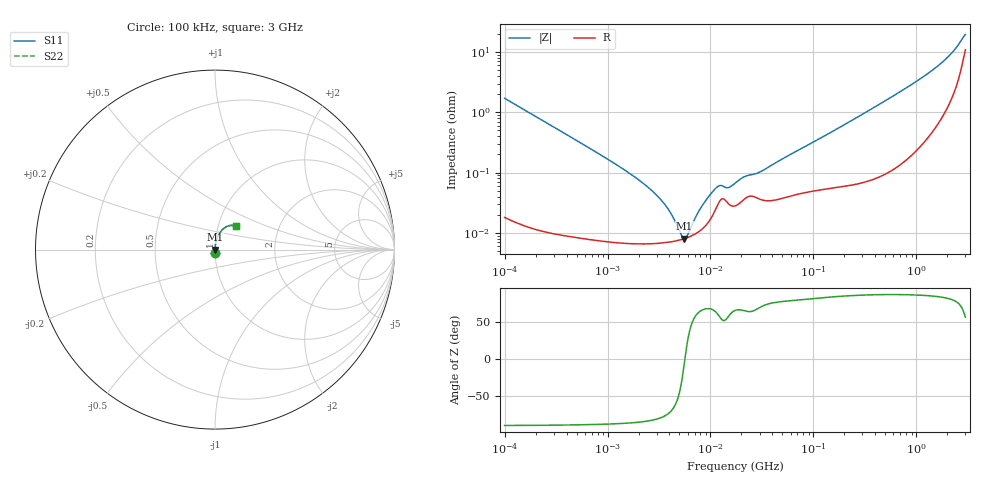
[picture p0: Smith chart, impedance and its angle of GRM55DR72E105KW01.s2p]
!Murata Part Number: GRM55DR72E105KW01
!These Parameters are Measured in Series Mode Connection
!Data Generated on Mar 30, 2021
!  o--ll--o
!Port1  Port2
!  o------o
!Operation Temp=25[degC], DC Bias Voltage=0[V]
!Freq. Start=100[kHz] Stop=3[GHz] 401[Steps]
# Hz S RI R 50
!Freq.(Hz) S11(Real) S11(Imag) S21(Real) S21(Imag) S12(Real) S12(Imag) S22(Real) S22(Imag)
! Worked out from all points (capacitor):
!   401 points, 100 kHz to 3 GHz, reference 50 ohm
!   read as one part in series: C = 932 nF near 105.3 kHz
!   lowest |Z| = 8.04 mohm at 5.573 MHz (marker M1)
!   series resonance near 5.648 MHz, so ESL is about 850 pH
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100000  0.000471 -0.017  0.9995 0.017  0.9995 0.017  0.000471 -0.017
562235  8.99e-05 -0.00302  0.9999 0.00302  0.9999 0.00302  8.99e-05 -0.00302
1747435  6.67e-05 -0.000895  0.9999 0.000895  0.9999 0.000895  6.67e-05 -0.000895
2442911  6.6e-05 -0.000577  0.9999 0.000577  0.9999 0.000577  6.6e-05 -0.000577
3161081  6.73e-05 -0.000378  0.9999 0.000378  0.9999 0.000378  6.73e-05 -0.000378
3986308  7.02e-05 -0.00022  0.9999 0.00022  0.9999 0.00022  7.02e-05 -0.00022
5026967  7.6e-05 -7.27e-05  0.9999 7.27e-05  0.9999 7.27e-05  7.6e-05 -7.27e-05
5572849  8e-05 -8.3e-06  0.9999 8.3e-06  0.9999 8.3e-06  8e-05 -8.3e-06
6178009  8.53e-05 5.67e-05  0.9999 -5.67e-05  0.9999 -5.67e-05  8.53e-05 5.67e-05
8202936  0.000113 0.000248  0.9999 -0.000248  0.9999 -0.000248  0.000113 0.000248
1.117591e7  0.000241 0.000486  0.9998 -0.000486  0.9998 -0.000486  0.000241 0.000486
1.238951e7  0.000342 0.000504  0.9997 -0.000504  0.9997 -0.000504  0.000342 0.000504
1.522638e7  0.000296 0.000485  0.9997 -0.000485  0.9997 -0.000485  0.000296 0.000485
1.77727e7  0.000284 0.000629  0.9997 -0.000629  0.9997 -0.000629  0.000284 0.000629
2.184217e7  0.000374 0.000782  0.9996 -0.000782  0.9996 -0.000782  0.000374 0.000782
3.13325e7  0.000354 0.000991  0.9996 -0.000991  0.9996 -0.000991  0.000354 0.000991
9.738194e7  0.000499 0.00309  0.9995 -0.00309  0.9995 -0.00309  0.000499 0.00309
5.475153e8  0.00131 0.017  0.9987 -0.017  0.9987 -0.017  0.00131 0.017
1.042837e9  0.00361 0.0338  0.9964 -0.0338  0.9964 -0.0338  0.00361 0.0338
1.616196e9  0.00958 0.0572  0.9904 -0.0572  0.9904 -0.0572  0.00958 0.0572
2.378954e9  0.0338 0.1027  0.9662 -0.1027  0.9662 -0.1027  0.0338 0.1027
3e9  0.1171 0.129  0.8829 -0.129  0.8829 -0.129  0.1171 0.129
